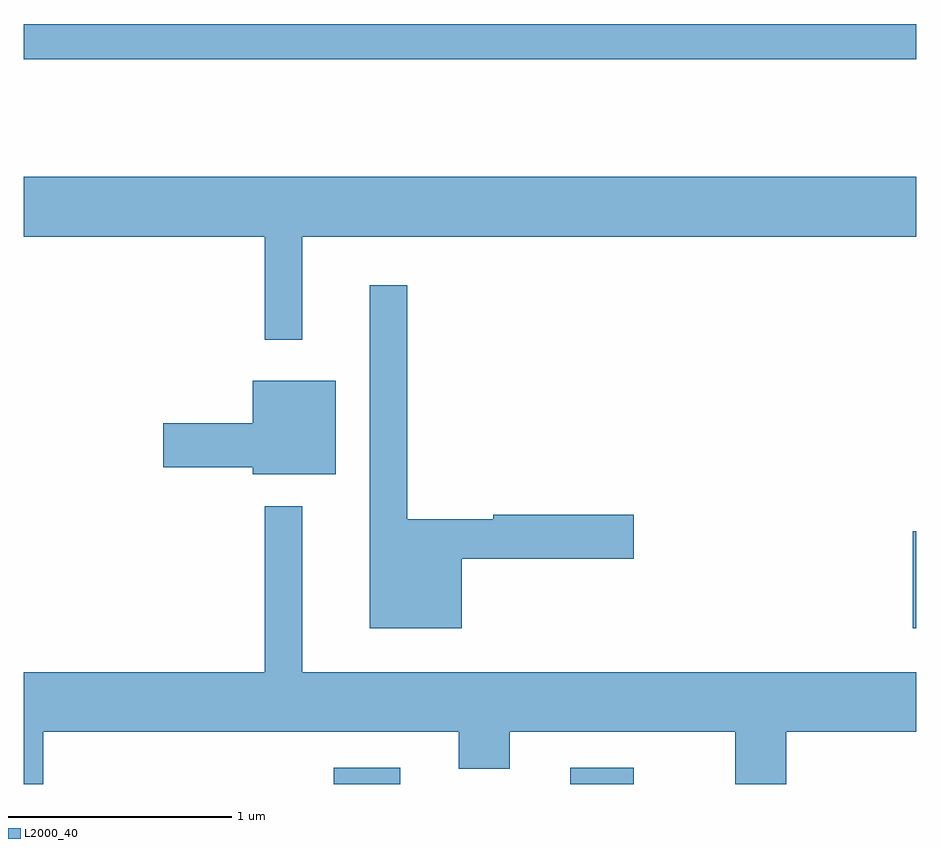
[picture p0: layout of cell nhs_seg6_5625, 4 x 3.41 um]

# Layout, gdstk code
import gdstk
lib = gdstk.Library(unit=1e-6, precision=1e-09)
def R(c, l, rs):  # rectangles x0, y0, x1, y1
    for r in rs: c.add(gdstk.rectangle(r[:2], r[2:], *l))
def P(c, l, *ps):  # polygons
    for p in ps: c.add(gdstk.Polygon(p, *l))
L2000_40 = (2000, 40)

nhs_seg6_5625 = lib.new_cell('nhs_seg6_5625')
R(nhs_seg6_5625, L2000_40, [(357.001,1634.162,357.299,1634.234), (358.061,1634.162,358.344,1634.234), (359.596,1634.861,359.611,1635.294), (355.611,1637.411,359.611,1637.569)])
P(nhs_seg6_5625, L2000_40, [(356.859,1636.616),(359.611,1636.616),(359.611,1636.884),(355.611,1636.884),(355.611,1636.616),(356.691,1636.616),(356.691,1636.153),(356.859,1636.153)],
  [(357.574,1635.171),(358.344,1635.171),(358.344,1635.369),(357.716,1635.369),(357.716,1635.349),(357.329,1635.349),(357.329,1636.398),(357.161,1636.398),(357.161,1634.861),(357.574,1634.861)],
  [(357.009,1635.969),(356.636,1635.969),(356.636,1635.779),(356.236,1635.779),(356.236,1635.581),(356.636,1635.581),(356.636,1635.551),(357.009,1635.551)],
  [(355.699,1634.396),(357.561,1634.396),(357.561,1634.231),(357.789,1634.231),(357.789,1634.396),(358.801,1634.396),(358.801,1634.162),(359.029,1634.162),(359.029,1634.396),(359.611,1634.396),(359.611,1634.664),(356.859,1634.664),(356.859,1635.408),(356.691,1635.408),(356.691,1634.664),(355.611,1634.664),(355.611,1634.162),(355.699,1634.162)])

lib.write_gds('nhs_seg6_5625.gds')
